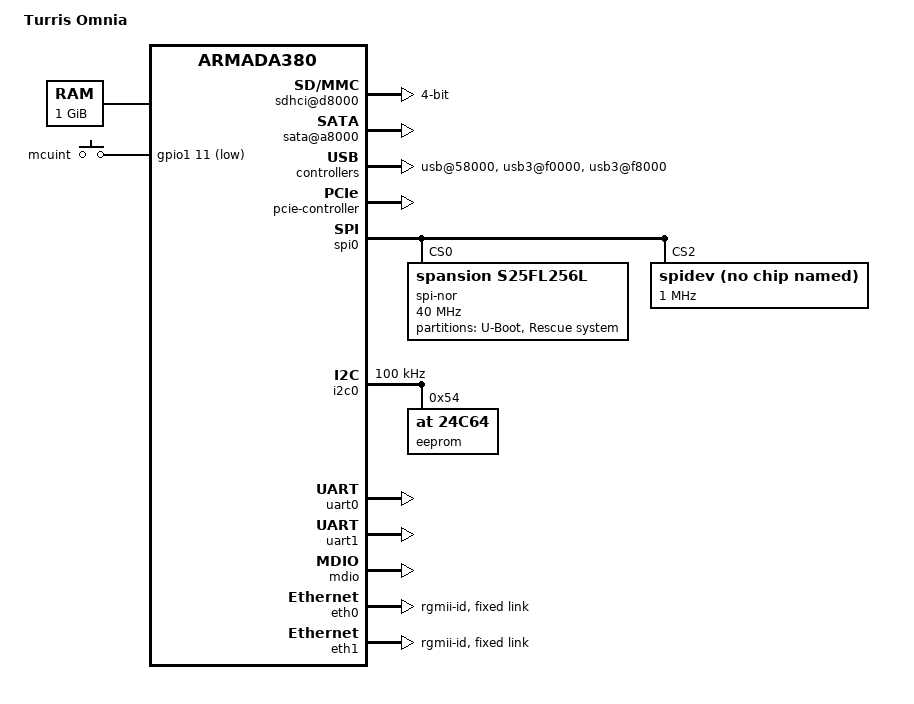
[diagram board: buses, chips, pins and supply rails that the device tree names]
/dts-v1/;

#include <dt-bindings/gpio/gpio.h>
#include <dt-bindings/input/input.h>
#include "armada-385.dtsi"

/ {
	model = "Turris Omnia";
	compatible = "marvell,armada385","marvell,armada380";

	chosen {
		bootargs = "console=ttyS0,115200";
		stdout-path = &uart0;
	};

	memory {
		device_type = "memory";
		reg = <0x00000000 0x40000000>; /* 1024 MB */
	};

	soc {
		ranges = <MBUS_ID(0xf0, 0x01) 0 0xf1000000 0x100000
			  MBUS_ID(0x01, 0x1d) 0 0xfff00000 0x100000
			  MBUS_ID(0x09, 0x19) 0 0xf1100000 0x10000
			  MBUS_ID(0x09, 0x15) 0 0xf1110000 0x10000>;

		internal-regs {
			sdhci@d8000 {
				status = "okay";
				bus-width = <4>;
				no-1-8-v;
				disable-wp;
				/* non-removable; */
			};

			sata@a8000 {
				status = "okay";
			};

			/* USB part of the eSATA/USB 2.0 port */
			usb@58000 {
				status = "okay";
			};

			/* 2x external USB3 */
			usb3@f0000 {
				status = "okay";
			};

			usb3@f8000 {
				status = "okay";
			};
		};

		pcie-controller {
			status = "okay";

			pcie@1,0 {
				/* Port 0, Lane 0 */
				status = "okay";
			};

			pcie@2,0 {
				/* Port 2, Lane 0 */
				status = "okay";
			};

			pcie@3,0 {
				/* Port 3, Lane 0 */
				status = "okay";
			};

		};
	};

	gpio-keys {
		compatible = "gpio-keys";
		#address-cells = <1>;
		#size-cells = <0>;

		button@212 {
			label = "mcuint";
			linux,code = <BTN_MISC>;
			gpios = <&gpio1 11 GPIO_ACTIVE_LOW>;
			debounce-interval = <0>;
		};
	};

	mvsw61xx {
		status = "okay";
		compatible = "marvell,88e6176";
		reg = <0>;

/*
		is-indirect;
*/
		mii-bus = <&mdio>;
		cpu-port-0 = <5>;
		cpu-port-1 = <6>;

		/* IRQ connected to MPP45. */
		/* interrupt-parent = <&gpio1>;
		interrupts = <13 IRQ_TYPE_LEVEL_LOW>; */
	};
};

&spi0 {
	status = "okay";

	spi-nor@0 {
		compatible = "spansion,s25fl256l", "jedec,spi-nor";
		#address-cells = <1>;
		#size-cells = <1>;
		reg = <0>;
		spi-max-frequency = <40000000>;

		partition@0 {
			reg = <0x0 0x00100000>;
			label = "U-Boot";
		};
		partition@1 {
			reg = <0x00100000 0x00700000>;
			label = "Rescue system";
		};

	};
	spidev@2 {
		spi-max-frequency = <1000000>;
		reg = <2>;
		compatible = "linux,spidev";
	};
};

&i2c0 {
	pinctrl-names = "default";
	pinctrl-0 = <&i2c0_pins>;
	status = "okay";
	clock-frequency = <100000>;

	/* Config memory */
	eeprom@54 {
		compatible = "at,24c64";
		reg = <0x54>;
	};
};

&uart0 {
	pinctrl-names = "default";
	pinctrl-0 = <&uart0_pins>;
	status = "okay";
};

&uart1 {
	pinctrl-names = "default";
	pinctrl-0 = <&uart1_pins>;
	status = "okay";
};

&mdio {
	status = "okay";
};

&eth0 {
	status = "okay";
	pinctrl-0 = <&ge0_rgmii_pins>;
	phy-mode = "rgmii-id";

	fixed-link {
		speed = <1000>;
		full-duplex;
	};
};

&eth1 {
	status = "okay";
	pinctrl-0 = <&ge1_rgmii_pins>;
	phy-mode = "rgmii-id";

	fixed-link {
		speed = <1000>;
		full-duplex;
	};
};

/*
&eth2 {
	status = "okay";
	phy-mode = "sgmii";

	fixed-link {
		speed = <1000>;
		full-duplex;
	};
};
*/

/*
&eth2 {
	status = "okay";

	phy-def {
		phy-mode = "sgmii";
		phy = <&phy1>;
	};

	phy-sfp {
		phy-mode = "sgmii";
		managed = "1000base-x";

		fixed-link {
			speed = <1000>;
			full-duplex;
		};
	};

	phy-sfp-noneg {
		phy-mode = "sgmii";
		managed = "1000base-x-noneg";

		fixed-link {
			speed = <1000>;
			full-duplex;
		};
	};

	phy-sfp-sgmii {
		phy-mode = "sgmii";
		managed = "in-band-status";

		fixed-link {
			speed = <1000>;
			full-duplex;
		};
	};
};
*/

&pinctrl {
	user_pin: user-pin {
		marvell,pins = "mpp18", "mpp33", "mpp34", "mpp35", "mpp36",
				"mpp42", "mpp44", "mpp47", "mpp51", "mpp56";
		marvell,function = "gpio";
	};
};

